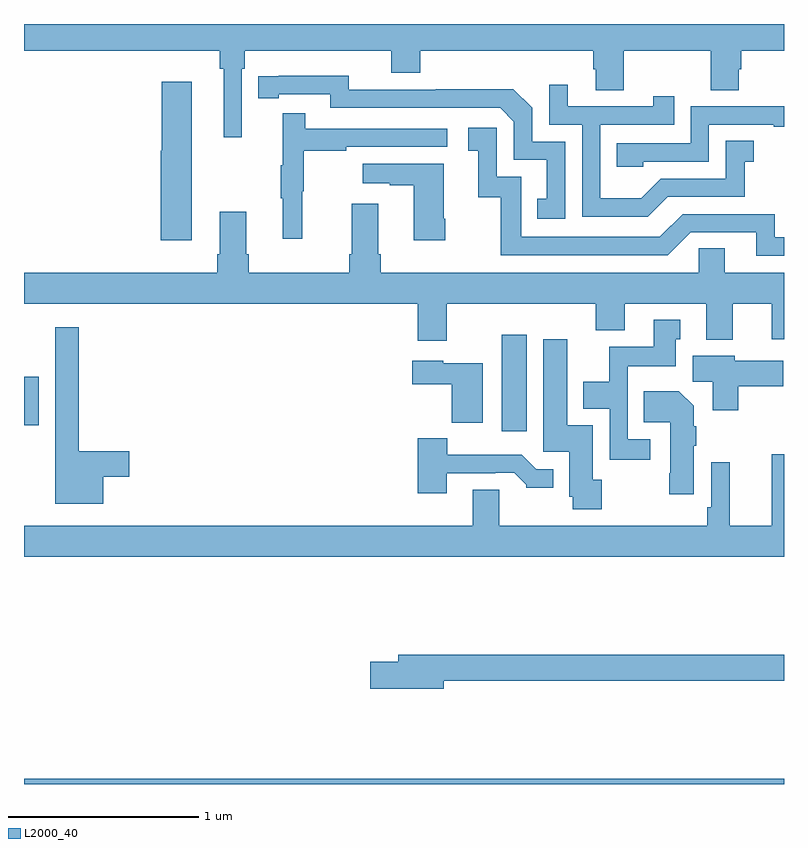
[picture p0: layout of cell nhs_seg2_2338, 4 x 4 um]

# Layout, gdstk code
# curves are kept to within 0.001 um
import gdstk
lib = gdstk.Library(unit=1e-6, precision=1e-09)
def R(c, l, rs):  # rectangles x0, y0, x1, y1
    for r in rs: c.add(gdstk.rectangle(r[:2], r[2:], *l))
def P(c, l, *ps):  # polygons
    for p in ps: c.add(gdstk.Polygon(p, *l))
L2000_40 = (2000, 40)

nhs_seg2_2338 = lib.new_cell('nhs_seg2_2338')
R(nhs_seg2_2338, L2000_40, [(233,619.8,237,619.828), (235.514,621.657,235.645,622.165), (233,621.689,233.077,621.943)])
P(nhs_seg2_2338, L2000_40, [(233,623.66),(234.031,623.66),(234.031,623.564),(234.05,623.564),(234.05,623.205),(234.147,623.205),(234.147,623.564),(234.161,623.564),(234.161,623.66),(234.932,623.66),(234.932,623.543),(235.085,623.543),(235.085,623.66),(235.997,623.66),(235.997,623.562),(236.009,623.562),(236.009,623.452),(236.157,623.452),(236.157,623.66),(236.614,623.66),(236.614,623.452),(236.761,623.452),(236.761,623.562),(236.774,623.562),(236.774,623.66),(237,623.66),(237,623.8),(233,623.8)],
  [(235.848,623.181),(235.674,623.181),(235.674,623.358),(235.576,623.456),(235.168,623.456),(235.168,623.454),(234.708,623.454),(234.708,623.527),(234.232,623.526),(234.232,623.41),(234.34,623.41),(234.34,623.43),(234.612,623.43),(234.612,623.358),(235.506,623.358),(235.578,623.286),(235.578,623.085),(235.751,623.085),(235.751,622.881),(235.702,622.881),(235.702,622.776),(235.848,622.776)],
  [(233.884,623.497),(233.726,623.497),(233.726,623.133),(233.72,623.133),(233.72,622.662),(233.884,622.662)],
  [(236.389,622.89),(236.793,622.89),(236.793,623.075),(236.842,623.075),(236.842,623.185),(236.694,623.185),(236.694,622.986),(236.352,622.986),(236.248,622.882),(236.034,622.882),(236.034,623.271),(236.423,623.271),(236.423,623.419),(236.312,623.419),(236.312,623.367),(235.861,623.367),(235.861,623.479),(235.764,623.479),(235.764,623.271),(235.938,623.271),(235.938,622.785),(236.284,622.785)],
  [(236.259,623.076),(236.604,623.076),(236.604,623.271),(236.945,623.271),(236.945,623.259),(237,623.259),(237,623.367),(236.508,623.367),(236.508,623.172),(236.119,623.172),(236.119,623.049),(236.259,623.049)],
  [(234.464,622.92),(234.472,622.92),(234.472,623.134),(234.695,623.134),(234.695,623.154),(235.228,623.154),(235.228,623.25),(234.479,623.25),(234.479,623.329),(234.362,623.329),(234.362,623.057),(234.351,623.057),(234.351,622.883),(234.362,622.883),(234.362,622.671),(234.464,622.671)],
  [(237,622.677),(236.952,622.677),(236.952,622.8),(236.466,622.8),(236.346,622.68),(235.617,622.68),(235.617,622.995),(235.488,622.995),(235.488,623.254),(235.338,623.254),(235.338,623.133),(235.391,623.133),(235.391,622.887),(235.509,622.887),(235.509,622.584),(236.388,622.584),(236.508,622.704),(236.855,622.704),(236.855,622.581),(237,622.581)],
  [(235.218,622.774),(235.21,622.774),(235.21,623.065),(234.783,623.065),(234.783,622.961),(234.926,622.961),(234.926,622.951),(235.052,622.951),(235.052,622.662),(235.218,622.662)],
  [(234.029,622.813),(234.029,622.588),(234.017,622.588),(234.017,622.492),(233,622.492),(233,622.328),(235.073,622.328),(235.073,622.134),(235.225,622.134),(235.225,622.328),(236.009,622.328),(236.009,622.187),(236.161,622.187),(236.161,622.328),(236.591,622.328),(236.591,622.139),(236.731,622.139),(236.731,622.328),(236.936,622.328),(236.936,622.14),(237,622.14),(237,622.492),(236.689,622.492),(236.689,622.619),(236.55,622.619),(236.55,622.492),(234.878,622.492),(234.878,622.588),(234.865,622.588),(234.865,622.855),(234.725,622.855),(234.725,622.588),(234.713,622.588),(234.713,622.492),(234.182,622.492),(234.182,622.588),(234.169,622.588),(234.169,622.813)],
  [(236.296,621.615),(236.178,621.615),(236.178,621.998),(236.431,621.998),(236.431,622.14),(236.455,622.14),(236.455,622.243),(236.315,622.243),(236.315,622.102),(236.08,622.102),(236.08,621.916),(235.943,621.916),(235.943,621.776),(236.082,621.776),(236.082,621.507),(236.296,621.507)],
  [(233.416,621.416),(233.554,621.416),(233.554,621.551),(233.287,621.551),(233.287,622.204),(233.165,622.204),(233.165,621.275),(233.416,621.275)],
  [(236.04,621.402),(235.993,621.402),(235.993,621.688),(235.858,621.688),(235.858,622.141),(235.733,622.141),(235.733,621.549),(235.871,621.549),(235.871,621.312),(235.888,621.312),(235.888,621.246),(236.04,621.246)],
  [(236.759,621.893),(236.995,621.893),(236.995,622.027),(236.742,622.027),(236.742,622.054),(236.519,622.054),(236.519,621.916),(236.624,621.916),(236.624,621.768),(236.759,621.768)],
  [(235.414,622.015),(235.206,622.015),(235.206,622.027),(235.044,622.027),(235.044,621.905),(235.252,621.905),(235.252,621.701),(235.414,621.701)],
  [(236.524,621.58),(236.537,621.58),(236.537,621.683),(236.524,621.683),(236.524,621.79),(236.446,621.868),(236.263,621.868),(236.263,621.704),(236.402,621.704),(236.402,621.436),(236.395,621.436),(236.395,621.324),(236.524,621.324)],
  [(235.225,621.435),(235.481,621.435),(235.481,621.438),(235.58,621.438),(235.644,621.374),(235.644,621.359),(235.786,621.359),(235.786,621.456),(235.695,621.456),(235.619,621.532),(235.228,621.532),(235.228,621.619),(235.073,621.619),(235.073,621.33),(235.225,621.33)],
  [(237,621.535),(236.936,621.535),(236.936,621.16),(236.715,621.16),(236.715,621.493),(236.616,621.493),(236.616,621.256),(236.596,621.256),(236.596,621.16),(235.501,621.16),(235.501,621.35),(235.361,621.35),(235.361,621.16),(233,621.16),(233,620.996),(237,620.996)],
  [(235.21,620.344),(237,620.344),(237,620.48),(234.971,620.48),(234.971,620.444),(234.822,620.444),(234.822,620.302),(235.21,620.302)])

lib.write_gds('nhs_seg2_2338.gds')
